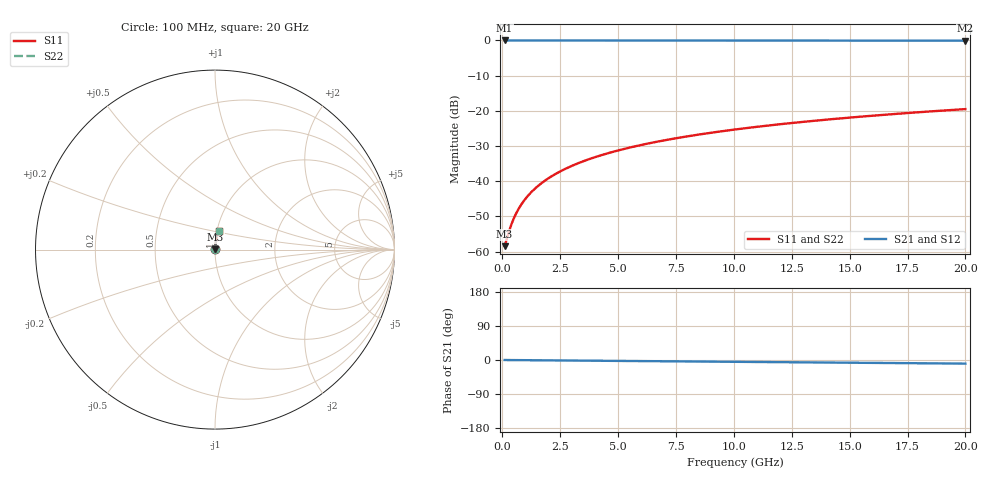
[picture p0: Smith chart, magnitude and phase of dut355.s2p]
! Touchstone file exported from HFSS 2026.1.0
!  File:  C:/ffzhzh/LocalFiles/Ansys_Project_Files/temp_train_TSV_355_1783019190_4048.aedt
!  Generated:  03:08:46 AM Jul  3, 2026
!  Design:  TSV
!  Project:  temp_train_TSV_355_1783019190_4048
! Variables:
!  h_bsmrdl = 2um
!  h_ox = 20um
!  h_rdl = 5um
!  h_sub = 70.02um
!  h_tmrdl = 5um
!  h_tsv = 70.02um
!  h_via = 3um
!  l_bsmrdl = 300um
!  l_sub = 405.58um
!  l_tmrdl = 200um
!  m_sub = 200um
!  pitch = 40.79um
!  r_tsv = 2.79um
!  s_tmrdl = 10um
!  w_bsmrdl = 18um
!  w_sub = 500um
!  w_tmrdl = 12um
!  x_tsv_center1 = 206um
!  x_tsv_center2 = 524um
!  x_tsv_center3 = 736um
!  x_tsv_center4 = 1054um
!  x_tsv_center5 = 1266um
!  x_tsv_center6 = 1584um
# GHz S MA R 50.000000
! Terminal data exported
! Port[1] = TSV1_1_T1
! Port[2] = TSV1_1_T2
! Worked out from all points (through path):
!   200 points, 100 MHz to 20 GHz, reference 50 ohm
!   highest |S21| = -0.01 dB at 100 MHz (marker M1); lowest = -0.1 dB at 20 GHz (marker M2)
!   group delay of S21, straight-line fit = 1.32 ps
!   lowest |S11| = -58.5 dB at 100 MHz (marker M3), VSWR 1.00, Z = 50.1 + j0.0559 ohm
!   |S11| at or under -10 dB: start of sweep to end of sweep
!   |S22| runs from -58.5 to -19.5 dB; largest |S21 - S12| = 3e-15
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0.1  0.001193 27.9  0.9989 -0.0  0.9989 -0.0  0.001193 27.9
! Gamma 0 0 0 0
! Port Impedance 50 0 50 0
0.3  0.001982 57.3  0.9989 -0.1  0.9989 -0.1  0.001982 57.3
0.4  0.002468 64.0  0.9989 -0.2  0.9989 -0.2  0.002468 64.0
0.5  0.002975 68.4  0.9989 -0.2  0.9989 -0.2  0.002975 68.4
0.6  0.003494 71.6  0.9989 -0.3  0.9989 -0.3  0.003494 71.6
0.7  0.00402 73.9  0.9989 -0.3  0.9989 -0.3  0.00402 73.9
0.9  0.005085 77.0  0.9989 -0.4  0.9989 -0.4  0.005085 77.0
1.2  0.006699 79.8  0.9989 -0.6  0.9989 -0.6  0.006699 79.8
1.4  0.007782 81.0  0.9988 -0.7  0.9988 -0.7  0.007782 81.0
1.7  0.009412 82.2  0.9988 -0.8  0.9988 -0.8  0.009412 82.2
2.2  0.01213 83.3  0.9987 -1.1  0.9987 -1.1  0.01213 83.3
2.8  0.0154 84.1  0.9987 -1.4  0.9987 -1.4  0.0154 84.1
3.5  0.01921 84.4  0.9985 -1.7  0.9985 -1.7  0.01921 84.4
4.2  0.02301 84.6  0.9984 -2.0  0.9984 -2.0  0.02301 84.6
5  0.02733 84.5  0.9982 -2.4  0.9982 -2.4  0.02733 84.5
5.9  0.03218 84.3  0.9979 -2.9  0.9979 -2.9  0.03218 84.3
6.8  0.03701 84.1  0.9976 -3.3  0.9976 -3.3  0.03701 84.1
8.3  0.045 83.6  0.9971 -4.0  0.9971 -4.0  0.045 83.6
10.1  0.05452 82.9  0.9964 -4.9  0.9964 -4.9  0.05452 82.9
13.4  0.07179 81.5  0.9949 -6.4  0.9949 -6.4  0.07179 81.5
16.7  0.08887 80.2  0.9932 -8.0  0.9932 -8.0  0.08887 80.2
20  0.1058 78.8  0.9912 -9.5  0.9912 -9.5  0.1058 78.8
